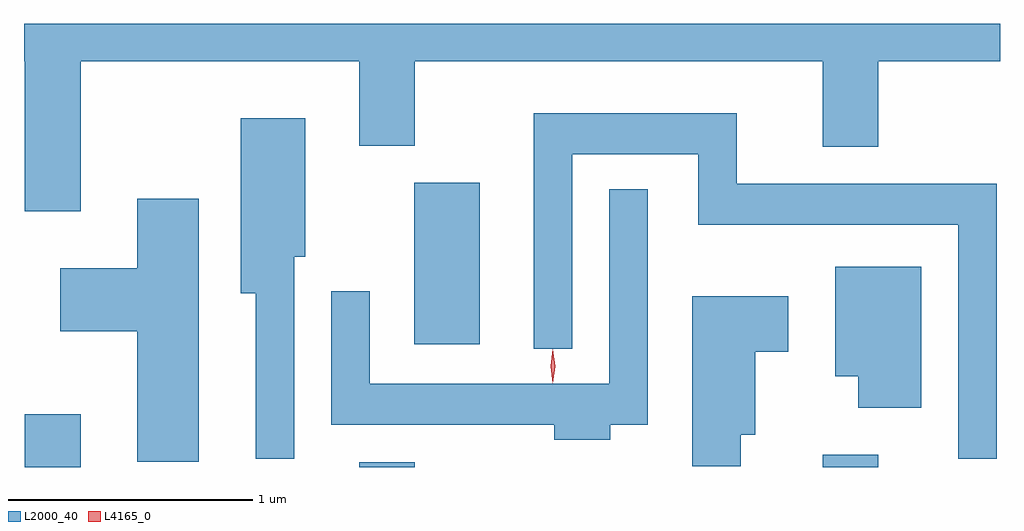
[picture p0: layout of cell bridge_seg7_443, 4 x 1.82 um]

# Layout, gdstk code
import gdstk
lib = gdstk.Library(unit=1e-6, precision=1e-09)
def R(c, l, rs):  # rectangles x0, y0, x1, y1
    for r in rs: c.add(gdstk.rectangle(r[:2], r[2:], *l))
def P(c, l, *ps):  # polygons
    for p in ps: c.add(gdstk.Polygon(p, *l))
L2000_40 = (2000, 40)
L4165_0 = (4165, 0)

bridge_seg7_443 = lib.new_cell('bridge_seg7_443')
R(bridge_seg7_443, L2000_40, [(1126.831,1668.252,1127.059,1668.469), (1128.201,1668.252,1128.429,1668.274), (1130.101,1668.252,1130.329,1668.304), (1128.426,1668.756,1128.694,1669.419)])
P(bridge_seg7_443, L2000_40, [(1127.059,1669.916),(1128.201,1669.916),(1128.201,1669.571),(1128.429,1669.571),(1128.429,1669.916),(1130.101,1669.916),(1130.101,1669.566),(1130.329,1669.566),(1130.329,1669.916),(1130.827,1669.916),(1130.827,1670.071),(1126.827,1670.071),(1126.827,1669.916),(1126.831,1669.916),(1126.831,1669.301),(1127.059,1669.301)],
  [(1130.814,1669.414),(1129.749,1669.414),(1129.749,1669.704),(1128.916,1669.704),(1128.916,1668.738),(1129.074,1668.738),(1129.074,1669.536),(1129.591,1669.536),(1129.591,1669.246),(1130.656,1669.246),(1130.656,1668.288),(1130.814,1668.288)],
  [(1127.934,1669.116),(1127.979,1669.116),(1127.979,1669.684),(1127.716,1669.684),(1127.716,1668.966),(1127.776,1668.966),(1127.776,1668.288),(1127.934,1668.288)],
  [(1129.229,1668.426),(1129.384,1668.426),(1129.384,1669.393),(1129.226,1669.393),(1129.226,1668.594),(1128.244,1668.594),(1128.244,1668.973),(1128.086,1668.973),(1128.086,1668.426),(1129.001,1668.426),(1129.001,1668.366),(1129.229,1668.366)],
  [(1127.544,1669.354),(1127.291,1669.354),(1127.291,1669.069),(1126.976,1669.069),(1126.976,1668.811),(1127.291,1668.811),(1127.291,1668.276),(1127.544,1668.276)],
  [(1130.504,1669.074),(1130.151,1669.074),(1130.151,1668.626),(1130.246,1668.626),(1130.246,1668.496),(1130.504,1668.496)],
  [(1129.764,1668.386),(1129.824,1668.386),(1129.824,1668.726),(1129.959,1668.726),(1129.959,1668.954),(1129.566,1668.954),(1129.566,1668.256),(1129.764,1668.256)])
P(bridge_seg7_443, L4165_0, [(1128.994,1668.597),(1128.985,1668.666),(1128.994,1668.736),(1128.995,1668.736),(1128.995,1668.736),(1129.005,1668.666),(1128.995,1668.597),(1128.995,1668.597)])

lib.write_gds('bridge_seg7_443.gds')
